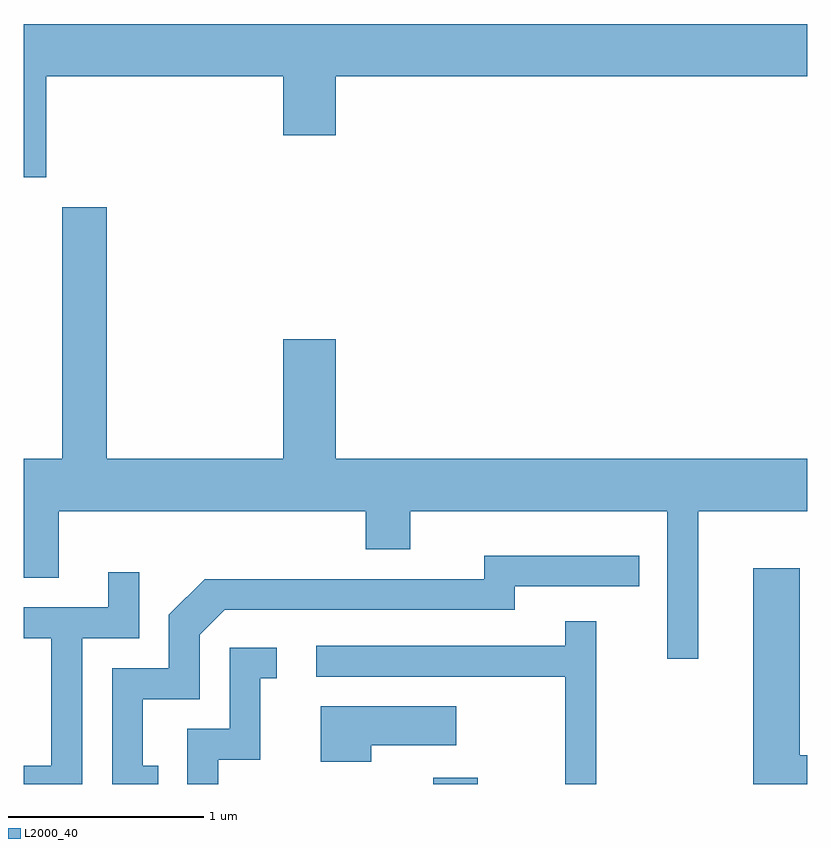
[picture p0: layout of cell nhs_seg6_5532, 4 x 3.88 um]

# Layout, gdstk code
import gdstk
lib = gdstk.Library(unit=1e-6, precision=1e-09)
def R(c, l, rs):  # rectangles x0, y0, x1, y1
    for r in rs: c.add(gdstk.rectangle(r[:2], r[2:], *l))
def P(c, l, *ps):  # polygons
    for p in ps: c.add(gdstk.Polygon(p, *l))
L2000_40 = (2000, 40)

nhs_seg6_5532 = lib.new_cell('nhs_seg6_5532')
R(nhs_seg6_5532, L2000_40, [(355.701,1584.162,355.929,1584.194)])
P(nhs_seg6_5532, L2000_40, [(353.724,1587.776),(354.936,1587.776),(354.936,1587.476),(355.204,1587.476),(355.204,1587.776),(357.611,1587.776),(357.611,1588.044),(353.611,1588.044),(353.611,1587.261),(353.724,1587.261)],
  [(357.054,1585.556),(357.611,1585.556),(357.611,1585.824),(355.204,1585.824),(355.204,1586.434),(354.936,1586.434),(354.936,1585.824),(354.034,1585.824),(354.034,1587.109),(353.806,1587.109),(353.806,1585.824),(353.611,1585.824),(353.611,1585.216),(353.789,1585.216),(353.789,1585.556),(355.356,1585.556),(355.356,1585.361),(355.584,1585.361),(355.584,1585.556),(356.896,1585.556),(356.896,1584.803),(357.054,1584.803)],
  [(354.298,1584.254),(354.219,1584.254),(354.219,1584.596),(354.509,1584.596),(354.509,1584.924),(354.637,1585.051),(356.119,1585.051),(356.119,1585.171),(356.753,1585.171),(356.753,1585.329),(355.961,1585.329),(355.961,1585.209),(354.534,1585.209),(354.351,1585.027),(354.351,1584.754),(354.061,1584.754),(354.061,1584.162),(354.298,1584.162)],
  [(357.611,1584.309),(357.574,1584.309),(357.574,1585.264),(357.336,1585.264),(357.336,1584.162),(357.611,1584.162)],
  [(353.909,1584.906),(354.199,1584.906),(354.199,1585.243),(354.041,1585.243),(354.041,1585.064),(353.611,1585.064),(353.611,1584.906),(353.751,1584.906),(353.751,1584.254),(353.611,1584.254),(353.611,1584.162),(353.909,1584.162)],
  [(356.534,1584.993),(356.376,1584.993),(356.376,1584.869),(355.103,1584.869),(355.103,1584.711),(356.376,1584.711),(356.376,1584.162),(356.534,1584.162)],
  [(354.604,1584.286),(354.819,1584.286),(354.819,1584.701),(354.903,1584.701),(354.903,1584.859),(354.661,1584.859),(354.661,1584.444),(354.446,1584.444),(354.446,1584.162),(354.604,1584.162)],
  [(355.384,1584.361),(355.819,1584.361),(355.819,1584.559),(355.126,1584.559),(355.126,1584.276),(355.384,1584.276)])

lib.write_gds('nhs_seg6_5532.gds')
